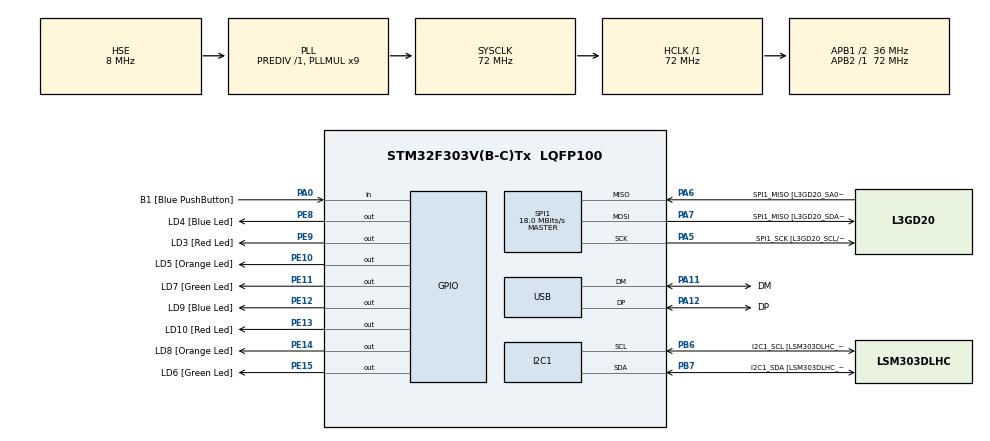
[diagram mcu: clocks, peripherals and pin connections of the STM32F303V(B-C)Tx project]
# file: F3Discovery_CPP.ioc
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I2C1.Timing-I2C=0x2000090E
Mcu.Family=STM32F3
Mcu.Name=STM32F303V(B-C)Tx
Mcu.Package=LQFP100
NVIC.PriorityGroup=NVIC_PRIORITYGROUP_0
PA0.GPIO_Label=B1 [Blue PushButton]
PA0.Signal=GPIO_Input
PA11.GPIO_Label=DM
PA11.Mode=Device
PA11.Signal=USB_DM
PA12.GPIO_Label=DP
PA12.Mode=Device
PA12.Signal=USB_DP
PA13.GPIO_Label=SWDIO
PA13.Mode=Serial_Wire
PA13.Signal=SYS_JTMS-SWDIO
PA14.GPIO_Label=SWCLK
PA14.Mode=Serial_Wire
PA14.Signal=SYS_JTCK-SWCLK
PA5.GPIO_Label=SPI1_SCK [L3GD20_SCL/SPC]
PA5.Mode=Full_Duplex_Master
PA5.Signal=SPI1_SCK
PA6.GPIO_Label=SPI1_MISO [L3GD20_SA0/SDO]
PA6.Mode=Full_Duplex_Master
PA6.Signal=SPI1_MISO
PA7.GPIO_Label=SPI1_MISO [L3GD20_SDA/SDI/SDO]
PA7.Mode=Full_Duplex_Master
PA7.Signal=SPI1_MOSI
PB3.GPIO_Label=SWO
PB3.Signal=SYS_JTDO-TRACESWO
PB6.GPIO_Label=I2C1_SCL [LSM303DLHC_SCL]
PB6.GPIO_Pu=GPIO_PULLUP
PB6.Mode=I2C
PB6.Signal=I2C1_SCL
PB7.GPIO_Label=I2C1_SDA [LSM303DLHC_SDA]
PB7.GPIO_Pu=GPIO_PULLUP
PB7.Mode=I2C
PB7.Signal=I2C1_SDA
PC14-OSC32_IN.GPIO_Label=OSC32_IN
PC14-OSC32_IN.Signal=RCC_OSC32_IN
PC15-OSC32_OUT.GPIO_Label=OSC32_OUT
PC15-OSC32_OUT.Signal=RCC_OSC32_OUT
PE10.GPIO_Label=LD5 [Orange Led]
PE10.Signal=GPIO_Output
PE11.GPIO_Label=LD7 [Green Led]
PE11.Signal=GPIO_Output
PE12.GPIO_Label=LD9 [Blue Led]
PE12.Signal=GPIO_Output
PE13.GPIO_Label=LD10 [Red Led]
PE13.Signal=GPIO_Output
PE14.GPIO_Label=LD8 [Orange Led]
PE14.Signal=GPIO_Output
PE15.GPIO_Label=LD6 [Green Led]
PE15.Signal=GPIO_Output
PE8.GPIO_Label=LD4 [Blue Led]
PE8.Signal=GPIO_Output
PE9.GPIO_Label=LD3 [Red Led]
PE9.Signal=GPIO_Output
PF0-OSC_IN.GPIO_Label=OSC_IN
PF0-OSC_IN.Mode=HSE-External-Clock-Source
PF0-OSC_IN.Signal=RCC_OSC_IN
PF1-OSC_OUT.GPIO_Label=OSC_OUT
PF1-OSC_OUT.Signal=RCC_OSC_OUT
ProjectManager.HeapSize=0x400
ProjectManager.StackSize=0x800
ProjectManager.TargetToolchain=STM32CubeIDE
RCC.AHBFreq_Value=72000000
RCC.APB1CLKDivider=RCC_HCLK_DIV2
RCC.APB1Freq_Value=36000000
RCC.APB1TimFreq_Value=72000000
RCC.APB2Freq_Value=72000000
RCC.APB2TimFreq_Value=72000000
RCC.CortexFreq_Value=72000000
RCC.HCLKFreq_Value=72000000
RCC.HSE_VALUE=8000000
RCC.HSI_VALUE=8000000
RCC.LSE_VALUE=32768
RCC.PLLMUL=RCC_PLL_MUL9
RCC.PRESCALERUSB=RCC_USBCLKSOURCE_PLL_DIV1_5
RCC.SYSCLKFreq_VALUE=72000000
RCC.SYSCLKSourceVirtual=RCC_SYSCLKSOURCE_PLLCLK
RCC.USBFreq_Value=48000000
SPI1.BaudRatePrescaler=SPI_BAUDRATEPRESCALER_4
SPI1.BaudRatePrescaler-Full_Duplex_Master=SPI_BAUDRATEPRESCALER_2
SPI1.CalculateBaudRate=18.0 MBits/s
SPI1.CalculateBaudRate-Full_Duplex_Master=24.0 MBits/s
SPI1.Direction=SPI_DIRECTION_2LINES
SPI1.Mode=SPI_MODE_MASTER
SPI1.Mode-Full_Duplex_Master=SPI_MODE_MASTER
SPI1.VirtualType=VM_MASTER
board=STM32F3DISCOVERY

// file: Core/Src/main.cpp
/* USER CODE BEGIN Header */
/**
  ******************************************************************************
  * @file           : main.c
  * @brief          : Main program body
  ******************************************************************************
  * @attention
  *
  * Copyright (c) 2023 STMicroelectronics.
  * All rights reserved.
  *
  * This software is licensed under terms that can be found in the LICENSE file
  * in the root directory of this software component.
  * If no LICENSE file comes with this software, it is provided AS-IS.
  *
  ******************************************************************************
  */
/* USER CODE END Header */
#include "main.h"
#include "i2c.h"
#include "spi.h"
#include "usb.h"
#include "gpio.h"

/* USER CODE BEGIN Includes */
#include <Port.hpp>
#include <Pin.hpp>
#include <PinList.hpp>
/* USER CODE END Includes */

/* USER CODE BEGIN PV */
int a = 0;
/* USER CODE END PV */

void SystemClock_Config(void);

int main(void)
{

  /* MCU Configuration--------------------------------------------------------*/

  /* Reset of all peripherals, Initializes the Flash interface and the Systick. */
  HAL_Init();

  /* Configure the system clock */
  SystemClock_Config();

  /* Initialize all configured peripherals */
  MX_GPIO_Init();
  MX_I2C1_Init();
  MX_SPI1_Init();
  MX_USB_PCD_Init();
  /* USER CODE BEGIN 2 */
  stm32::Pin PA8(GPIOE, GPIO_PIN_8);
  stm32::Pin PA9(GPIOE, GPIO_PIN_9);
  stm32::Pin PA10(GPIOE, GPIO_PIN_10);
  stm32::Pin PA11(GPIOE, GPIO_PIN_11);
  stm32::Pin PA12(GPIOE, GPIO_PIN_12);
  stm32::Pin PA13(GPIOE, GPIO_PIN_13);
  stm32::Pin PA14(GPIOE, GPIO_PIN_14);
  stm32::Pin PA15(GPIOE, GPIO_PIN_15);
  stm32::Pin LEDs[8] = {PA8, PA9, PA10, PA11, PA12, PA13, PA14, PA15};
  stm32::PinList LD(LEDs, sizeof LEDs / sizeof LEDs[0]);

  /* USER CODE END 2 */

  /* Infinite loop */
  while (1)
  {

    /* USER CODE BEGIN 3 */
	  State s1[8] = {State::Set, State::Reset, State::Set, State::Reset, State::Set, State::Reset, State::Set, State::Reset};
	  LD = s1;
	  a = static_cast<State>(LD[4]);
	  HAL_Delay(1000);
	  State s2[8] = {State::Reset, State::Set, State::Reset, State::Set, State::Reset, State::Set, State::Reset, State::Set};
	  LD = s2;
	  a = static_cast<State>(LD[4]);
	  HAL_Delay(1000);

  }
  /* USER CODE END 3 */
}

void SystemClock_Config(void)
{
  RCC_OscInitTypeDef RCC_OscInitStruct = {0};
  RCC_ClkInitTypeDef RCC_ClkInitStruct = {0};
  RCC_PeriphCLKInitTypeDef PeriphClkInit = {0};

  /** Initializes the RCC Oscillators according to the specified parameters
  * in the RCC_OscInitTypeDef structure.
  */
  RCC_OscInitStruct.OscillatorType = RCC_OSCILLATORTYPE_HSI|RCC_OSCILLATORTYPE_HSE;
  RCC_OscInitStruct.HSEState = RCC_HSE_BYPASS;
  RCC_OscInitStruct.HSEPredivValue = RCC_HSE_PREDIV_DIV1;
  RCC_OscInitStruct.HSIState = RCC_HSI_ON;
  RCC_OscInitStruct.HSICalibrationValue = RCC_HSICALIBRATION_DEFAULT;
  RCC_OscInitStruct.PLL.PLLState = RCC_PLL_ON;
  RCC_OscInitStruct.PLL.PLLSource = RCC_PLLSOURCE_HSE;
  RCC_OscInitStruct.PLL.PLLMUL = RCC_PLL_MUL9;
  if (HAL_RCC_OscConfig(&RCC_OscInitStruct) != HAL_OK)
  {
    Error_Handler();
  }

  /** Initializes the CPU, AHB and APB buses clocks
  */
  RCC_ClkInitStruct.ClockType = RCC_CLOCKTYPE_HCLK|RCC_CLOCKTYPE_SYSCLK
                              |RCC_CLOCKTYPE_PCLK1|RCC_CLOCKTYPE_PCLK2;
  RCC_ClkInitStruct.SYSCLKSource = RCC_SYSCLKSOURCE_PLLCLK;
  RCC_ClkInitStruct.AHBCLKDivider = RCC_SYSCLK_DIV1;
  RCC_ClkInitStruct.APB1CLKDivider = RCC_HCLK_DIV2;
  RCC_ClkInitStruct.APB2CLKDivider = RCC_HCLK_DIV1;

  if (HAL_RCC_ClockConfig(&RCC_ClkInitStruct, FLASH_LATENCY_2) != HAL_OK)
  {
    Error_Handler();
  }
  PeriphClkInit.PeriphClockSelection = RCC_PERIPHCLK_USB|RCC_PERIPHCLK_I2C1;
  PeriphClkInit.I2c1ClockSelection = RCC_I2C1CLKSOURCE_HSI;
  PeriphClkInit.USBClockSelection = RCC_USBCLKSOURCE_PLL_DIV1_5;
  if (HAL_RCCEx_PeriphCLKConfig(&PeriphClkInit) != HAL_OK)
  {
    Error_Handler();
  }
}

void Error_Handler(void)
{
  __disable_irq();
  while (1)
  {
  }
}
